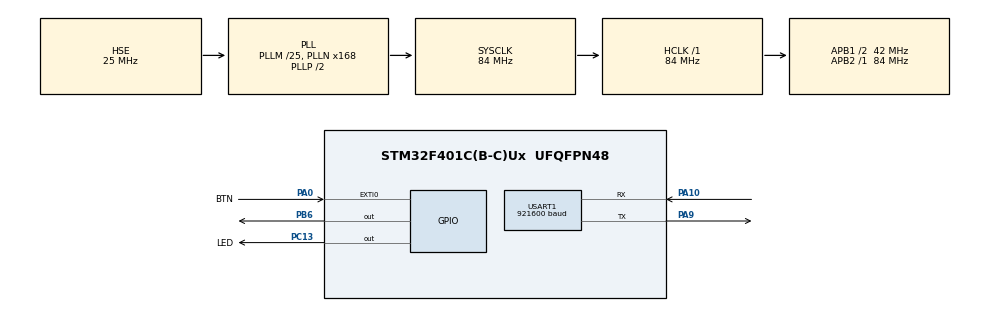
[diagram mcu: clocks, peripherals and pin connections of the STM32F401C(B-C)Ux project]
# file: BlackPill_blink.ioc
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Mcu.Family=STM32F4
Mcu.Name=STM32F401C(B-C)Ux
Mcu.Package=UFQFPN48
NVIC.PriorityGroup=NVIC_PRIORITYGROUP_4
PA0-WKUP.GPIO_Label=BTN
PA0-WKUP.GPIO_ModeDefaultEXTI=GPIO_MODE_EVT_RISING_FALLING
PA0-WKUP.GPIO_PuPd=GPIO_PULLUP
PA0-WKUP.Signal=GPXTI0
PA10.Mode=Asynchronous
PA10.Signal=USART1_RX
PA13.Mode=Trace_Asynchronous_SW
PA13.Signal=SYS_JTMS-SWDIO
PA14.Mode=Trace_Asynchronous_SW
PA14.Signal=SYS_JTCK-SWCLK
PA9.Mode=Asynchronous
PA9.Signal=USART1_TX
PB3.Mode=Trace_Asynchronous_SW
PB3.Signal=SYS_JTDO-SWO
PB6.GPIO_ModeDefaultOutputPP=GPIO_MODE_OUTPUT_PP
PB6.GPIO_PuPd=GPIO_PULLUP
PB6.GPIO_Speed=GPIO_SPEED_FREQ_HIGH
PB6.PinState=GPIO_PIN_SET
PB6.Signal=GPIO_Output
PC13-ANTI_TAMP.GPIO_Label=LED
PC13-ANTI_TAMP.GPIO_ModeDefaultOutputPP=GPIO_MODE_OUTPUT_OD
PC13-ANTI_TAMP.GPIO_PuPd=GPIO_NOPULL
PC13-ANTI_TAMP.PinState=GPIO_PIN_SET
PC13-ANTI_TAMP.Signal=GPIO_Output
PH0\ -\ OSC_IN.Mode=HSE-External-Oscillator
PH0\ -\ OSC_IN.Signal=RCC_OSC_IN
PH1\ -\ OSC_OUT.Mode=HSE-External-Oscillator
PH1\ -\ OSC_OUT.Signal=RCC_OSC_OUT
ProjectManager.HeapSize=0x200
ProjectManager.StackSize=0x400
ProjectManager.TargetToolchain=STM32CubeIDE
RCC.48MHZClocksFreq_Value=42000000
RCC.AHBFreq_Value=84000000
RCC.APB1CLKDivider=RCC_HCLK_DIV2
RCC.APB1Freq_Value=42000000
RCC.APB1TimFreq_Value=84000000
RCC.APB2Freq_Value=84000000
RCC.APB2TimFreq_Value=84000000
RCC.CortexFreq_Value=84000000
RCC.HCLKFreq_Value=84000000
RCC.HSE_VALUE=25000000
RCC.HSI_VALUE=16000000
RCC.LSE_VALUE=32768
RCC.PLLM=25
RCC.PLLN=168
RCC.PLLSourceVirtual=RCC_PLLSOURCE_HSE
RCC.SYSCLKFreq_VALUE=84000000
RCC.SYSCLKSource=RCC_SYSCLKSOURCE_PLLCLK
RCC.VCOOutputFreq_Value=168000000
USART1.BaudRate=921600
USART1.VirtualMode=VM_ASYNC
board=custom

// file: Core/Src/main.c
/* USER CODE BEGIN Header */
/**
  ******************************************************************************
  * @file           : main.c
  * @brief          : Main program body
  ******************************************************************************
  * @attention
  *
  * Copyright (c) 2025 STMicroelectronics.
  * All rights reserved.
  *
  * This software is licensed under terms that can be found in the LICENSE file
  * in the root directory of this software component.
  * If no LICENSE file comes with this software, it is provided AS-IS.
  *
  ******************************************************************************
  */
/* USER CODE END Header */
#include "main.h"

UART_HandleTypeDef huart1;

void SystemClock_Config(void);
static void MX_GPIO_Init(void);
static void MX_USART1_UART_Init(void);

/* USER CODE BEGIN 0 */

// Send printf to uart1
int _write(int fd, char* ptr, int len) {
  HAL_StatusTypeDef hstatus;

  if (fd == 1 || fd == 2) {
    hstatus = HAL_UART_Transmit(&huart1, (uint8_t *) ptr, len, HAL_MAX_DELAY);
    if (hstatus == HAL_OK)
      return len;
    else
      return -1;
  }
  return -1;
}

/* USER CODE END 0 */

int main(void)
{

  /* MCU Configuration--------------------------------------------------------*/

  /* Reset of all peripherals, Initializes the Flash interface and the Systick. */
  HAL_Init();

  /* Configure the system clock */
  SystemClock_Config();

  /* Initialize all configured peripherals */
  MX_GPIO_Init();
  MX_USART1_UART_Init();

  /* Infinite loop */
  /* USER CODE BEGIN WHILE */

  uint32_t now =0, last_blink = 0;

  while (1)
  {
	  now = HAL_GetTick();
	  if (now - last_blink >= 1000) {

	  HAL_GPIO_TogglePin(GPIOB, GPIO_PIN_6);
	  HAL_GPIO_TogglePin(GPIOC, LED_Pin);
	  last_blink = now;
	  }
    /* USER CODE END WHILE */

  }
}

void SystemClock_Config(void)
{
  RCC_OscInitTypeDef RCC_OscInitStruct = {0};
  RCC_ClkInitTypeDef RCC_ClkInitStruct = {0};

  /** Configure the main internal regulator output voltage
  */
  __HAL_RCC_PWR_CLK_ENABLE();
  __HAL_PWR_VOLTAGESCALING_CONFIG(PWR_REGULATOR_VOLTAGE_SCALE2);

  /** Initializes the RCC Oscillators according to the specified parameters
  * in the RCC_OscInitTypeDef structure.
  */
  RCC_OscInitStruct.OscillatorType = RCC_OSCILLATORTYPE_HSE;
  RCC_OscInitStruct.HSEState = RCC_HSE_ON;
  RCC_OscInitStruct.PLL.PLLState = RCC_PLL_ON;
  RCC_OscInitStruct.PLL.PLLSource = RCC_PLLSOURCE_HSE;
  RCC_OscInitStruct.PLL.PLLM = 25;
  RCC_OscInitStruct.PLL.PLLN = 168;
  RCC_OscInitStruct.PLL.PLLP = RCC_PLLP_DIV2;
  RCC_OscInitStruct.PLL.PLLQ = 4;
  if (HAL_RCC_OscConfig(&RCC_OscInitStruct) != HAL_OK)
  {
    Error_Handler();
  }

  /** Initializes the CPU, AHB and APB buses clocks
  */
  RCC_ClkInitStruct.ClockType = RCC_CLOCKTYPE_HCLK|RCC_CLOCKTYPE_SYSCLK
                              |RCC_CLOCKTYPE_PCLK1|RCC_CLOCKTYPE_PCLK2;
  RCC_ClkInitStruct.SYSCLKSource = RCC_SYSCLKSOURCE_PLLCLK;
  RCC_ClkInitStruct.AHBCLKDivider = RCC_SYSCLK_DIV1;
  RCC_ClkInitStruct.APB1CLKDivider = RCC_HCLK_DIV2;
  RCC_ClkInitStruct.APB2CLKDivider = RCC_HCLK_DIV1;

  if (HAL_RCC_ClockConfig(&RCC_ClkInitStruct, FLASH_LATENCY_2) != HAL_OK)
  {
    Error_Handler();
  }
}

static void MX_USART1_UART_Init(void)
{

  huart1.Instance = USART1;
  huart1.Init.BaudRate = 921600;
  huart1.Init.WordLength = UART_WORDLENGTH_8B;
  huart1.Init.StopBits = UART_STOPBITS_1;
  huart1.Init.Parity = UART_PARITY_NONE;
  huart1.Init.Mode = UART_MODE_TX_RX;
  huart1.Init.HwFlowCtl = UART_HWCONTROL_NONE;
  huart1.Init.OverSampling = UART_OVERSAMPLING_16;
  if (HAL_UART_Init(&huart1) != HAL_OK)
  {
    Error_Handler();
  }

}

static void MX_GPIO_Init(void)
{
  GPIO_InitTypeDef GPIO_InitStruct = {0};

  /* GPIO Ports Clock Enable */
  __HAL_RCC_GPIOC_CLK_ENABLE();
  __HAL_RCC_GPIOH_CLK_ENABLE();
  __HAL_RCC_GPIOA_CLK_ENABLE();
  __HAL_RCC_GPIOB_CLK_ENABLE();

  /*Configure GPIO pin Output Level */
  HAL_GPIO_WritePin(LED_GPIO_Port, LED_Pin, GPIO_PIN_SET);

  /*Configure GPIO pin Output Level */
  HAL_GPIO_WritePin(GPIOB, GPIO_PIN_6, GPIO_PIN_SET);

  /*Configure GPIO pin : LED_Pin */
  GPIO_InitStruct.Pin = LED_Pin;
  GPIO_InitStruct.Mode = GPIO_MODE_OUTPUT_OD;
  GPIO_InitStruct.Pull = GPIO_NOPULL;
  GPIO_InitStruct.Speed = GPIO_SPEED_FREQ_LOW;
  HAL_GPIO_Init(LED_GPIO_Port, &GPIO_InitStruct);

  /*Configure GPIO pin : BTN_Pin */
  GPIO_InitStruct.Pin = BTN_Pin;
  GPIO_InitStruct.Mode = GPIO_MODE_EVT_RISING_FALLING;
  GPIO_InitStruct.Pull = GPIO_PULLUP;
  HAL_GPIO_Init(BTN_GPIO_Port, &GPIO_InitStruct);

  /*Configure GPIO pin : PB6 */
  GPIO_InitStruct.Pin = GPIO_PIN_6;
  GPIO_InitStruct.Mode = GPIO_MODE_OUTPUT_PP;
  GPIO_InitStruct.Pull = GPIO_PULLUP;
  GPIO_InitStruct.Speed = GPIO_SPEED_FREQ_HIGH;
  HAL_GPIO_Init(GPIOB, &GPIO_InitStruct);

}

void Error_Handler(void)
{
  __disable_irq();
  while (1)
  {
  }
}
